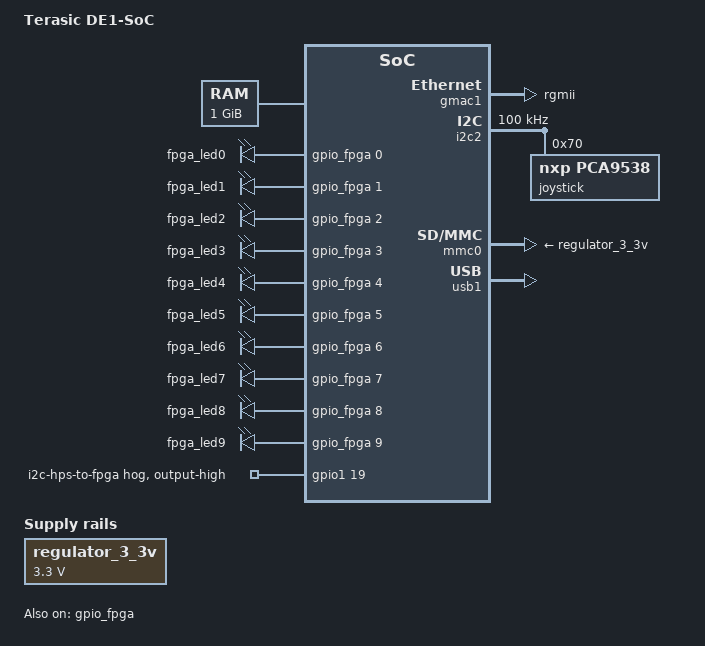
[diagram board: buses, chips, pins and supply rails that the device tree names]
// SPDX-License-Identifier: GPL-2.0+
#include "socfpga_cyclone5.dtsi"

/ {
    model = "Terasic DE1-SoC";
    compatible = "terasic,de1-soc", "altr,socfpga-cyclone5", "altr,socfpga";

    chosen {
        bootargs = "earlyprintk";
        stdout-path = "serial0:115200n8";
    };

    memory@0 {
        device_type = "memory";
        reg = <0x0 0x40000000>; /* 1GB HPS DDR memory */
    };

    aliases {
        ethernet0 = &gmac1;
    };

    regulator_3_3v: regulator {
        compatible = "regulator-fixed";
        regulator-name = "VCC3P3";
        regulator-min-microvolt = <3300000>;
        regulator-max-microvolt = <3300000>;
    };

    /* FPGA LEDs controlled via FPGA GPIO */
    leds {
        compatible = "gpio-leds";
        fpga_led0 { label = "fpga_led0"; gpios = <&gpio_fpga 0 0>; };
        fpga_led1 { label = "fpga_led1"; gpios = <&gpio_fpga 1 0>; };
        fpga_led2 { label = "fpga_led2"; gpios = <&gpio_fpga 2 0>; };
        fpga_led3 { label = "fpga_led3"; gpios = <&gpio_fpga 3 0>; };
        fpga_led4 { label = "fpga_led4"; gpios = <&gpio_fpga 4 0>; };
        fpga_led5 { label = "fpga_led5"; gpios = <&gpio_fpga 5 0>; };
        fpga_led6 { label = "fpga_led6"; gpios = <&gpio_fpga 6 0>; };
        fpga_led7 { label = "fpga_led7"; gpios = <&gpio_fpga 7 0>; };
        fpga_led8 { label = "fpga_led8"; gpios = <&gpio_fpga 8 0>; };
        fpga_led9 { label = "fpga_led9"; gpios = <&gpio_fpga 9 0>; };
    };

    /* Extending the soc node from dtsi directly */
    soc {
        gpio_fpga: gpio@ff200070 {
            compatible = "altr,pio-1.0";
            reg = <0xff200070 0x10>;
            altr,ngpio = <10>;
            #gpio-cells = <2>;
            gpio-controller;
            status = "okay";
        };
    };
};

/* Enables HPS-to-FPGA bridge */
&fpga_bridge0 {
    status = "okay";
};

&gmac1 {
    status = "okay";
    phy-mode = "rgmii";
    rxd0-skew-ps = <0>;
    rxd1-skew-ps = <0>;
    rxd2-skew-ps = <0>;
    rxd3-skew-ps = <0>;
    txen-skew-ps = <0>;
    txc-skew-ps = <2600>;
    rxdv-skew-ps = <0>;
    rxc-skew-ps = <2000>;
};

&gpio0 { status = "okay"; };
&gpio1 {
    status = "okay";
    /* Selects I2C path between HPS and FPGA */
    i2c_mux_select: i2c-mux-select {
        gpio-hog;
        gpios = <19 0>;
        output-high;
        line-name = "i2c-hps-to-fpga";
    };
};
&gpio2 { status = "okay"; };

/* HPS I2C controller used for external devices */
&i2c2 {
    status = "okay";
    clock-frequency = <100000>;
    /* Joystick connected via I2C GPIO expander */
    joystick@70 {
        compatible = "nxp,pca9538";
        reg = <0x70>;
        gpio-controller;
        #gpio-cells = <2>;
        status = "okay";
    };
};

&mmc0 {
    vmmc-supply = <&regulator_3_3v>;
    vqmmc-supply = <&regulator_3_3v>;
    status = "okay";
};

&usb1 {
    status = "okay";
};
